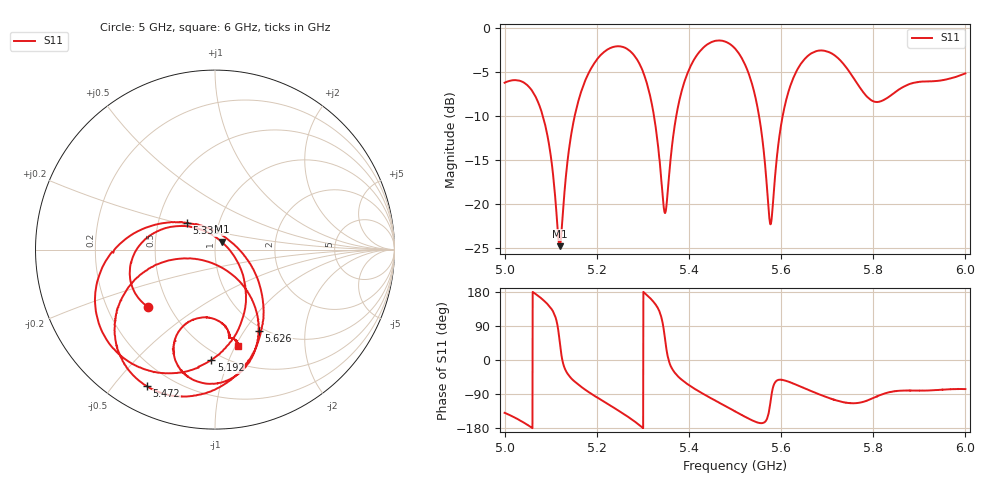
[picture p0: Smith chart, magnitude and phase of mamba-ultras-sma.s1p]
# HZ S RI R 50
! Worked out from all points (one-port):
!   2020 points, 5 GHz to 6 GHz, reference 50 ohm
!   lowest |S11| = -24.8 dB at 5.119 GHz (marker M1), VSWR 1.12, Z = 53.6 + j4.75 ohm
!   |S11| at or under -10 dB: 5.083 GHz to 5.152 GHz (69.07 MHz wide, 1.35 % of centre); 5.324 GHz to 5.372 GHz (48.26 MHz wide, 0.902 % of centre); 5.552 GHz to 5.603 GHz (51.18 MHz wide, 0.918 % of centre)
!   S11 on the Smith chart (normalised r, x): 5 GHz: 0.38, -0.32; 5.192 GHz: 0.44, -0.87; 5.333 GHz: 0.70, +0.22; 5.472 GHz: 0.11, -0.61; 5.626 GHz: 0.95, -1.17; 6 GHz: 0.66, -1.02
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5e9  -0.3721 -0.3189
5.043586e9  -0.4742 -0.113
5.077266e9  -0.3406 0.0929
5.098564e9  -0.153 0.13
5.119366e9  0.0365 0.0442
5.12531e9  0.0803 -0.00068
5.149579e9  0.1714 -0.239
5.191679e9  -0.0201 -0.6151
5.220902e9  -0.302 -0.6873
5.250124e9  -0.5695 -0.5484
5.290243e9  -0.6352 -0.117
5.315008e9  -0.4051 0.114
5.332838e9  -0.1561 0.1491
5.349183e9  0.0625 0.0643
5.375434e9  0.258 -0.2341
5.426944e9  0.0449 -0.7551
5.471521e9  -0.3801 -0.761
5.500248e9  -0.5502 -0.5346
5.545815e9  -0.3725 -0.109
5.577019e9  -0.0265 -0.0716
5.599802e9  0.1719 -0.2199
5.625062e9  0.2427 -0.4486
5.625558e9  0.2444 -0.4518
5.683012e9  -0.007 -0.7482
5.750372e9  -0.2195 -0.5093
5.803864e9  -0.0552 -0.3773
5.875186e9  0.079 -0.471
6.000001e9  0.1265 -0.5392
